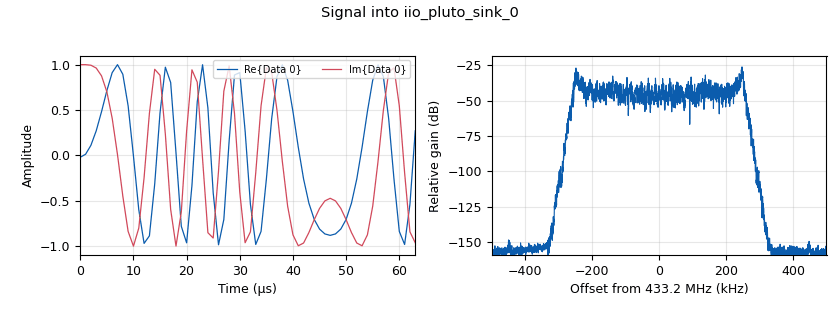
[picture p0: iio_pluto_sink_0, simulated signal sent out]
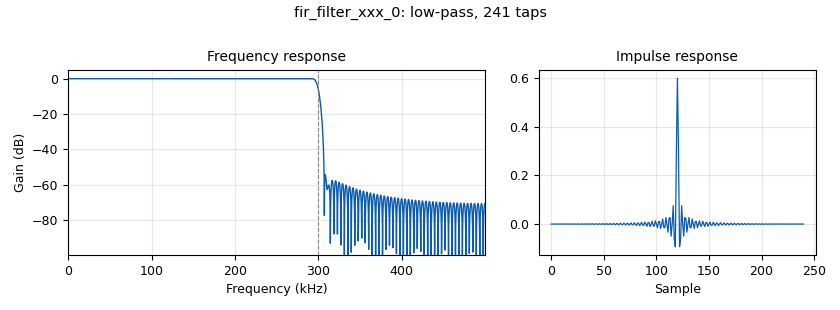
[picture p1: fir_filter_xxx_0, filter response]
options:
  parameters:
    generate_options: qt_gui
    id: top_block
    output_language: python
    title: pluto1
  states: {}

blocks:
- name: samp_rate
  id: variable
  parameters:
    value: '1000000'
  states: {}
- name: analog_agc_xx_0
  id: analog_agc_xx
  parameters:
    gain: '1.0'
    max_gain: '65536'
    rate: '1e-5'
    reference: '0.5'
    type: complex
  states: {}
- name: analog_quadrature_demod_cf_0
  id: analog_quadrature_demod_cf
  parameters:
    gain: '1.5628'
  states: {}
- name: analog_rail_ff_0
  id: analog_rail_ff
  parameters:
    hi: '1.2'
    lo: '-1.2'
  states: {}
- name: blocks_stream_to_tagged_stream_0
  id: blocks_stream_to_tagged_stream
  parameters:
    len_tag_key: '18'
    packet_len: '48'
    type: byte
  states: {state: disabled}
- name: blocks_stream_to_tagged_stream_0_0
  id: blocks_stream_to_tagged_stream
  parameters:
    len_tag_key: '18'
    packet_len: '48'
    type: byte
  states: {state: disabled}
- name: blocks_throttle2_0
  id: blocks_throttle2
  parameters:
    samples_per_second: '100000'
    type: byte
  states: {state: disabled}
- name: blocks_uchar_to_float_0
  id: blocks_uchar_to_float
  parameters: {}
  states: {state: disabled}
- name: blocks_unpack_k_bits_bb_0
  id: blocks_unpack_k_bits_bb
  parameters:
    k: '8'
  states: {state: disabled}
- name: blocks_vector_source_x_0_0
  id: blocks_vector_source_x
  parameters:
    repeat: 'True'
    type: byte
    vector: (1,212,211,127,78,98,56,23,21,25)
  states: {}
- name: digital_binary_slicer_fb_0
  id: digital_binary_slicer_fb
  parameters: {}
  states: {state: disabled}
- name: digital_gfsk_demod_0_0_0
  id: digital_gfsk_demod
  parameters:
    freq_error: '0.0'
    gain_mu: '0.175'
    mu: '0.5'
    omega_relative_limit: '0.005'
    samples_per_symbol: '47'
    sensitivity: '1.5628'
  states: {state: disabled}
- name: digital_gfsk_mod_0_0
  id: digital_gfsk_mod
  parameters:
    bt: '0.35'
    samples_per_symbol: '47'
    sensitivity: '1.5628'
  states: {}
- name: digital_symbol_sync_xx_0
  id: digital_symbol_sync_xx
  parameters:
    damping: '1.0'
    loop_bw: '0.005'
    max_dev: '1.5'
    osps: '1'
    resamp_type: digital.IR_MMSE_8TAP
    sps: '47'
    ted_gain: '1.0'
    ted_type: digital.TED_ZERO_CROSSING
    type: ff
  states: {}
- name: fir_filter_xxx_0
  id: fir_filter_xxx
  parameters:
    decim: '1'
    taps: firdes.low_pass(1, 1e6, 300e3, 10e3)
    type: ccc
  states: {}
- name: iio_pluto_sink_0
  id: iio_pluto_sink
  parameters:
    attenuation1: '-10'
    bandwidth: '1000000'
    buffer_size: '32768'
    cyclic: 'False'
    filter_source: '''Auto'''
    frequency: '433200000'
    samplerate: samp_rate
    type: fc32
    uri: 192.168.3.1
  states: {}
- name: iio_pluto_source_0
  id: iio_pluto_source
  parameters:
    bandwidth: '1000000'
    bbdc: 'True'
    buffer_size: '32768'
    filter_source: '''Auto'''
    frequency: '433200000'
    gain1: '''manual'''
    manual_gain1: '60'
    quadrature: 'True'
    rfdc: 'True'
    samplerate: samp_rate
    type: fc32
    uri: 192.168.2.1
  states: {}
- name: pdu_tagged_stream_to_pdu_0
  id: pdu_tagged_stream_to_pdu
  parameters:
    tag: '18'
    type: byte
  states: {state: disabled}
- name: pdu_tagged_stream_to_pdu_0_0
  id: pdu_tagged_stream_to_pdu
  parameters:
    tag: '18'
    type: byte
  states: {state: disabled}
- name: qtgui_freq_sink_x_0_0
  id: qtgui_freq_sink_x
  parameters:
    bw: samp_rate
    fc: '433200000'
    fftsize: '1024'
    type: complex
  states: {}
- name: qtgui_time_sink_x_0
  id: qtgui_time_sink_x
  parameters:
    size: '1024'
    srate: samp_rate
    type: float
  states: {}
- name: qtgui_time_sink_x_0_0
  id: qtgui_time_sink_x
  parameters:
    size: '1024'
    srate: samp_rate
    type: float
  states: {state: disabled}
- name: qtgui_time_sink_x_0_1
  id: qtgui_time_sink_x
  parameters:
    size: '1024'
    srate: samp_rate
    type: float
  states: {}
- name: zeromq_pub_msg_sink_0
  id: zeromq_pub_msg_sink
  parameters:
    address: tcp://127.0.0.1:5555
    timeout: '100'
  states: {state: disabled}
- name: zeromq_pub_msg_sink_0_0
  id: zeromq_pub_msg_sink
  parameters:
    address: tcp://127.0.0.1:5555
    timeout: '100'
  states: {state: disabled}
- name: zeromq_pub_sink_0
  id: zeromq_pub_sink
  parameters:
    address: tcp://127.0.0.1:5555
    timeout: '100'
    type: byte
  states: {state: disabled}

connections:
- [analog_agc_xx_0, '0', analog_quadrature_demod_cf_0, '0']
- [analog_quadrature_demod_cf_0, '0', analog_rail_ff_0, '0']
- [analog_rail_ff_0, '0', digital_symbol_sync_xx_0, '0']
- [blocks_stream_to_tagged_stream_0, '0', pdu_tagged_stream_to_pdu_0, '0']
- [blocks_stream_to_tagged_stream_0_0, '0', pdu_tagged_stream_to_pdu_0_0, '0']
- [blocks_uchar_to_float_0, '0', qtgui_time_sink_x_0_0, '0']
- [blocks_unpack_k_bits_bb_0, '0', blocks_throttle2_0, '0']
- [blocks_vector_source_x_0_0, '0', blocks_unpack_k_bits_bb_0, '0']
- [blocks_vector_source_x_0_0, '0', digital_gfsk_mod_0_0, '0']
- [digital_binary_slicer_fb_0, '0', blocks_stream_to_tagged_stream_0_0, '0']
- [digital_binary_slicer_fb_0, '0', zeromq_pub_sink_0, '0']
- [digital_gfsk_demod_0_0_0, '0', blocks_stream_to_tagged_stream_0, '0']
- [digital_gfsk_demod_0_0_0, '0', blocks_uchar_to_float_0, '0']
- [digital_gfsk_mod_0_0, '0', iio_pluto_sink_0, '0']
- [digital_symbol_sync_xx_0, '0', digital_binary_slicer_fb_0, '0']
- [digital_symbol_sync_xx_0, '0', qtgui_time_sink_x_0_1, '0']
- [digital_symbol_sync_xx_0, '1', qtgui_time_sink_x_0, '0']
- [fir_filter_xxx_0, '0', analog_agc_xx_0, '0']
- [fir_filter_xxx_0, '0', qtgui_freq_sink_x_0_0, '0']
- [iio_pluto_source_0, '0', digital_gfsk_demod_0_0_0, '0']
- [iio_pluto_source_0, '0', fir_filter_xxx_0, '0']
- [pdu_tagged_stream_to_pdu_0, pdus, zeromq_pub_msg_sink_0, in]
- [pdu_tagged_stream_to_pdu_0_0, pdus, zeromq_pub_msg_sink_0_0, in]

metadata:
  file_format: 1
  grc_version: 3.10.12.0
